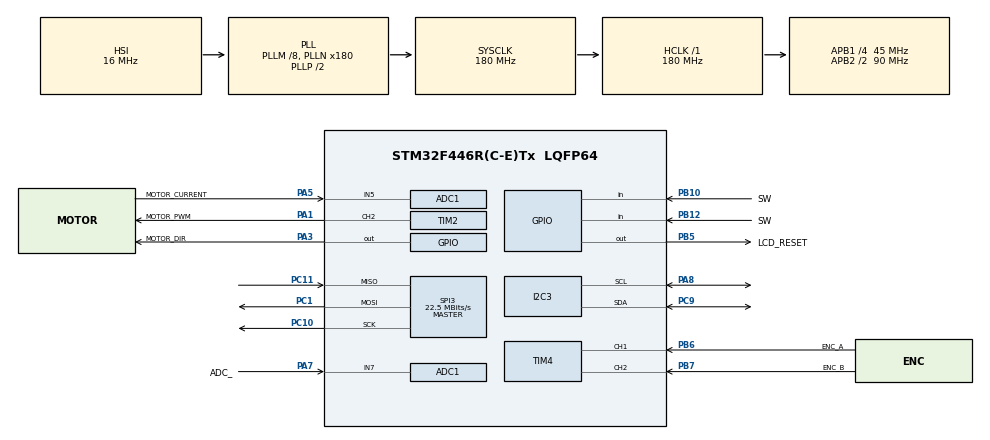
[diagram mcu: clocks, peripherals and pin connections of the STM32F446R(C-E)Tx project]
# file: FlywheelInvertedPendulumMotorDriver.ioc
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ADC1.Channel-2\#ChannelRegularConversion=ADC_CHANNEL_5
ADC1.Channel-3\#ChannelRegularConversion=ADC_CHANNEL_5
ADC1.ContinuousConvMode=ENABLE
ADC1.DMAContinuousRequests=ENABLE
ADC1.NbrOfConversion=2
ADC1.NbrOfConversionFlag=1
ADC1.Rank-2\#ChannelRegularConversion=1
ADC1.Rank-3\#ChannelRegularConversion=2
ADC1.SamplingTime-2\#ChannelRegularConversion=ADC_SAMPLETIME_480CYCLES
ADC1.SamplingTime-3\#ChannelRegularConversion=ADC_SAMPLETIME_480CYCLES
ADC1.master=1
Dma.ADC1.0.Direction=DMA_PERIPH_TO_MEMORY
Dma.ADC1.0.FIFOMode=DMA_FIFOMODE_DISABLE
Dma.ADC1.0.Instance=DMA2_Stream0
Dma.ADC1.0.MemDataAlignment=DMA_MDATAALIGN_HALFWORD
Dma.ADC1.0.MemInc=DMA_MINC_ENABLE
Dma.ADC1.0.Mode=DMA_CIRCULAR
Dma.ADC1.0.PeriphDataAlignment=DMA_PDATAALIGN_HALFWORD
Dma.ADC1.0.PeriphInc=DMA_PINC_DISABLE
Dma.ADC1.0.Priority=DMA_PRIORITY_LOW
Dma.Request0=ADC1
Mcu.Family=STM32F4
Mcu.Name=STM32F446R(C-E)Tx
Mcu.Package=LQFP64
NVIC.DMA2_Stream0_IRQn=true\:0\:0\:false\:false\:true\:false\:true
NVIC.PriorityGroup=NVIC_PRIORITYGROUP_4
NVIC.TIM6_DAC_IRQn=true\:0\:0\:false\:false\:true\:true\:true
PA1.GPIO_Label=MOTOR_PWM
PA1.Signal=S_TIM2_CH2
PA13.Mode=Trace_Asynchronous_SW
PA13.Signal=SYS_JTMS-SWDIO
PA14.Mode=Trace_Asynchronous_SW
PA14.Signal=SYS_JTCK-SWCLK
PA3.GPIO_Label=MOTOR_DIR
PA3.Signal=GPIO_Output
PA5.GPIO_Label=MOTOR_CURRENT
PA5.Signal=ADCx_IN5
PA7.GPIO_Label=ADC_
PA7.Signal=ADCx_IN7
PA8.Mode=I2C
PA8.Signal=I2C3_SCL
PB10.GPIO_Label=SW
PB10.GPIO_PuPd=GPIO_PULLUP
PB10.Signal=GPIO_Input
PB12.GPIO_Label=SW
PB12.GPIO_PuPd=GPIO_PULLUP
PB12.Signal=GPIO_Input
PB3.Mode=Trace_Asynchronous_SW
PB3.Signal=SYS_JTDO-SWO
PB5.GPIO_Label=LCD_RESET
PB5.Signal=GPIO_Output
PB6.GPIO_Label=ENC_A
PB6.Signal=S_TIM4_CH1
PB7.GPIO_Label=ENC_B
PB7.Signal=S_TIM4_CH2
PC1.Mode=Full_Duplex_Master
PC1.Signal=SPI3_MOSI
PC10.Mode=Full_Duplex_Master
PC10.Signal=SPI3_SCK
PC11.Mode=Full_Duplex_Master
PC11.Signal=SPI3_MISO
PC9.Mode=I2C
PC9.Signal=I2C3_SDA
PH0-OSC_IN.Mode=HSE-External-Oscillator
PH0-OSC_IN.Signal=RCC_OSC_IN
PH1-OSC_OUT.Mode=HSE-External-Oscillator
PH1-OSC_OUT.Signal=RCC_OSC_OUT
ProjectManager.HeapSize=0x200
ProjectManager.StackSize=0x400
ProjectManager.TargetToolchain=STM32CubeIDE
RCC.AHBFreq_Value=180000000
RCC.APB1CLKDivider=RCC_HCLK_DIV4
RCC.APB1Freq_Value=45000000
RCC.APB1TimFreq_Value=90000000
RCC.APB2CLKDivider=RCC_HCLK_DIV2
RCC.APB2Freq_Value=90000000
RCC.APB2TimFreq_Value=180000000
RCC.CortexFreq_Value=180000000
RCC.HCLKFreq_Value=180000000
RCC.HSE_VALUE=8000000
RCC.PLLM=8
RCC.PLLN=180
RCC.SYSCLKFreq_VALUE=180000000
RCC.SYSCLKSource=RCC_SYSCLKSOURCE_PLLCLK
RCC.USBFreq_Value=180000000
RCC.VCOOutputFreq_Value=360000000
SH.ADCx_IN5.0=ADC1_IN5,IN5
SH.ADCx_IN7.0=ADC1_IN7,IN7
SH.S_TIM2_CH2.0=TIM2_CH2,PWM Generation2 CH2
SH.S_TIM4_CH1.0=TIM4_CH1,Encoder_Interface
SH.S_TIM4_CH2.0=TIM4_CH2,Encoder_Interface
SPI3.CalculateBaudRate=22.5 MBits/s
SPI3.Direction=SPI_DIRECTION_2LINES
SPI3.Mode=SPI_MODE_MASTER
SPI3.VirtualType=VM_MASTER
TIM2.Channel-PWM\ Generation2\ CH2=TIM_CHANNEL_2
TIM2.Period=1799
TIM4.EncoderMode=TIM_ENCODERMODE_TI12
TIM6.AutoReloadPreload=TIM_AUTORELOAD_PRELOAD_ENABLE
TIM6.Period=999
TIM6.Prescaler=89
VP_TIM6_VS_ClockSourceINT.Mode=Enable_Timer
board=custom

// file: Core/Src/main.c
/* USER CODE BEGIN Header */
/**
  ******************************************************************************
  * @file           : main.c
  * @brief          : Main program body
  ******************************************************************************
  * @attention
  *
  * <h2><center>&copy; Copyright (c) 2021 STMicroelectronics.
  * All rights reserved.</center></h2>
  *
  * This software component is licensed by ST under BSD 3-Clause license,
  * the "License"; You may not use this file except in compliance with the
  * License. You may obtain a copy of the License at:
  *                        opensource.org/licenses/BSD-3-Clause
  *
  ******************************************************************************
  */
/* USER CODE END Header */
#include "main.h"

/* USER CODE BEGIN Includes */
#include "wrapper.hpp"

/* USER CODE END Includes */

ADC_HandleTypeDef hadc1;
DMA_HandleTypeDef hdma_adc1;

I2C_HandleTypeDef hi2c3;

SPI_HandleTypeDef hspi3;

TIM_HandleTypeDef htim2;
TIM_HandleTypeDef htim4;
TIM_HandleTypeDef htim6;

/* USER CODE BEGIN PV */
int tim6_timer;
/* USER CODE END PV */

void SystemClock_Config(void);
static void MX_GPIO_Init(void);
static void MX_DMA_Init(void);
static void MX_TIM2_Init(void);
static void MX_TIM4_Init(void);
static void MX_ADC1_Init(void);
static void MX_SPI3_Init(void);
static void MX_I2C3_Init(void);
static void MX_TIM6_Init(void);

/* USER CODE BEGIN 0 */
int _write(int file, char *ptr, int len)
{
  int DataIdx;
  for(DataIdx=0; DataIdx<len; DataIdx++)
  {
    ITM_SendChar(*ptr++);
  }
  return len;
}
void HAL_TIM_PeriodElapsedCallback(TIM_HandleTypeDef *htim)
{
	if(htim->Instance == TIM6){
		cppFlip1ms();

		tim6_timer++;
		if(tim6_timer >= 100000) tim6_timer = 0;
	}

}

void init()
{
	// timer interrpt in start
	HAL_TIM_Base_Start_IT(&htim6);
	cppInit();
}
/* USER CODE END 0 */

int main(void)
{

  /* MCU Configuration--------------------------------------------------------*/

  /* Reset of all peripherals, Initializes the Flash interface and the Systick. */
  HAL_Init();

  /* Configure the system clock */
  SystemClock_Config();

  /* Initialize all configured peripherals */
  MX_GPIO_Init();
  MX_DMA_Init();
  MX_TIM2_Init();
  MX_TIM4_Init();
  MX_ADC1_Init();
  MX_SPI3_Init();
  MX_I2C3_Init();
  MX_TIM6_Init();
  /* USER CODE BEGIN 2 */

  init();

  /* USER CODE END 2 */

  /* Infinite loop */
  while (1)
  {
	  cppLoop();
  }
}

void SystemClock_Config(void)
{
  RCC_OscInitTypeDef RCC_OscInitStruct = {0};
  RCC_ClkInitTypeDef RCC_ClkInitStruct = {0};

  /** Configure the main internal regulator output voltage
  */
  __HAL_RCC_PWR_CLK_ENABLE();
  __HAL_PWR_VOLTAGESCALING_CONFIG(PWR_REGULATOR_VOLTAGE_SCALE1);
  /** Initializes the RCC Oscillators according to the specified parameters
  * in the RCC_OscInitTypeDef structure.
  */
  RCC_OscInitStruct.OscillatorType = RCC_OSCILLATORTYPE_HSI;
  RCC_OscInitStruct.HSIState = RCC_HSI_ON;
  RCC_OscInitStruct.HSICalibrationValue = RCC_HSICALIBRATION_DEFAULT;
  RCC_OscInitStruct.PLL.PLLState = RCC_PLL_ON;
  RCC_OscInitStruct.PLL.PLLSource = RCC_PLLSOURCE_HSI;
  RCC_OscInitStruct.PLL.PLLM = 8;
  RCC_OscInitStruct.PLL.PLLN = 180;
  RCC_OscInitStruct.PLL.PLLP = RCC_PLLP_DIV2;
  RCC_OscInitStruct.PLL.PLLQ = 2;
  RCC_OscInitStruct.PLL.PLLR = 2;
  if (HAL_RCC_OscConfig(&RCC_OscInitStruct) != HAL_OK)
  {
    Error_Handler();
  }
  /** Activate the Over-Drive mode
  */
  if (HAL_PWREx_EnableOverDrive() != HAL_OK)
  {
    Error_Handler();
  }
  /** Initializes the CPU, AHB and APB buses clocks
  */
  RCC_ClkInitStruct.ClockType = RCC_CLOCKTYPE_HCLK|RCC_CLOCKTYPE_SYSCLK
                              |RCC_CLOCKTYPE_PCLK1|RCC_CLOCKTYPE_PCLK2;
  RCC_ClkInitStruct.SYSCLKSource = RCC_SYSCLKSOURCE_PLLCLK;
  RCC_ClkInitStruct.AHBCLKDivider = RCC_SYSCLK_DIV1;
  RCC_ClkInitStruct.APB1CLKDivider = RCC_HCLK_DIV4;
  RCC_ClkInitStruct.APB2CLKDivider = RCC_HCLK_DIV2;

  if (HAL_RCC_ClockConfig(&RCC_ClkInitStruct, FLASH_LATENCY_5) != HAL_OK)
  {
    Error_Handler();
  }
}

static void MX_ADC1_Init(void)
{

  ADC_ChannelConfTypeDef sConfig = {0};

  /** Configure the global features of the ADC (Clock, Resolution, Data Alignment and number of conversion)
  */
  hadc1.Instance = ADC1;
  hadc1.Init.ClockPrescaler = ADC_CLOCK_SYNC_PCLK_DIV4;
  hadc1.Init.Resolution = ADC_RESOLUTION_12B;
  hadc1.Init.ScanConvMode = ENABLE;
  hadc1.Init.ContinuousConvMode = ENABLE;
  hadc1.Init.DiscontinuousConvMode = DISABLE;
  hadc1.Init.ExternalTrigConvEdge = ADC_EXTERNALTRIGCONVEDGE_NONE;
  hadc1.Init.ExternalTrigConv = ADC_SOFTWARE_START;
  hadc1.Init.DataAlign = ADC_DATAALIGN_RIGHT;
  hadc1.Init.NbrOfConversion = 2;
  hadc1.Init.DMAContinuousRequests = ENABLE;
  hadc1.Init.EOCSelection = ADC_EOC_SINGLE_CONV;
  if (HAL_ADC_Init(&hadc1) != HAL_OK)
  {
    Error_Handler();
  }
  /** Configure for the selected ADC regular channel its corresponding rank in the sequencer and its sample time.
  */
  sConfig.Channel = ADC_CHANNEL_5;
  sConfig.Rank = 1;
  sConfig.SamplingTime = ADC_SAMPLETIME_480CYCLES;
  if (HAL_ADC_ConfigChannel(&hadc1, &sConfig) != HAL_OK)
  {
    Error_Handler();
  }
  /** Configure for the selected ADC regular channel its corresponding rank in the sequencer and its sample time.
  */
  sConfig.Rank = 2;
  if (HAL_ADC_ConfigChannel(&hadc1, &sConfig) != HAL_OK)
  {
    Error_Handler();
  }

}

static void MX_I2C3_Init(void)
{

  hi2c3.Instance = I2C3;
  hi2c3.Init.ClockSpeed = 100000;
  hi2c3.Init.DutyCycle = I2C_DUTYCYCLE_2;
  hi2c3.Init.OwnAddress1 = 0;
  hi2c3.Init.AddressingMode = I2C_ADDRESSINGMODE_7BIT;
  hi2c3.Init.DualAddressMode = I2C_DUALADDRESS_DISABLE;
  hi2c3.Init.OwnAddress2 = 0;
  hi2c3.Init.GeneralCallMode = I2C_GENERALCALL_DISABLE;
  hi2c3.Init.NoStretchMode = I2C_NOSTRETCH_DISABLE;
  if (HAL_I2C_Init(&hi2c3) != HAL_OK)
  {
    Error_Handler();
  }

}

static void MX_SPI3_Init(void)
{

  /* SPI3 parameter configuration*/
  hspi3.Instance = SPI3;
  hspi3.Init.Mode = SPI_MODE_MASTER;
  hspi3.Init.Direction = SPI_DIRECTION_2LINES;
  hspi3.Init.DataSize = SPI_DATASIZE_8BIT;
  hspi3.Init.CLKPolarity = SPI_POLARITY_LOW;
  hspi3.Init.CLKPhase = SPI_PHASE_1EDGE;
  hspi3.Init.NSS = SPI_NSS_SOFT;
  hspi3.Init.BaudRatePrescaler = SPI_BAUDRATEPRESCALER_2;
  hspi3.Init.FirstBit = SPI_FIRSTBIT_MSB;
  hspi3.Init.TIMode = SPI_TIMODE_DISABLE;
  hspi3.Init.CRCCalculation = SPI_CRCCALCULATION_DISABLE;
  hspi3.Init.CRCPolynomial = 10;
  if (HAL_SPI_Init(&hspi3) != HAL_OK)
  {
    Error_Handler();
  }

}

static void MX_TIM2_Init(void)
{

  TIM_MasterConfigTypeDef sMasterConfig = {0};
  TIM_OC_InitTypeDef sConfigOC = {0};

  htim2.Instance = TIM2;
  htim2.Init.Prescaler = 0;
  htim2.Init.CounterMode = TIM_COUNTERMODE_UP;
  htim2.Init.Period = 1799;
  htim2.Init.ClockDivision = TIM_CLOCKDIVISION_DIV1;
  htim2.Init.AutoReloadPreload = TIM_AUTORELOAD_PRELOAD_DISABLE;
  if (HAL_TIM_PWM_Init(&htim2) != HAL_OK)
  {
    Error_Handler();
  }
  sMasterConfig.MasterOutputTrigger = TIM_TRGO_RESET;
  sMasterConfig.MasterSlaveMode = TIM_MASTERSLAVEMODE_DISABLE;
  if (HAL_TIMEx_MasterConfigSynchronization(&htim2, &sMasterConfig) != HAL_OK)
  {
    Error_Handler();
  }
  sConfigOC.OCMode = TIM_OCMODE_PWM1;
  sConfigOC.Pulse = 0;
  sConfigOC.OCPolarity = TIM_OCPOLARITY_HIGH;
  sConfigOC.OCFastMode = TIM_OCFAST_DISABLE;
  if (HAL_TIM_PWM_ConfigChannel(&htim2, &sConfigOC, TIM_CHANNEL_2) != HAL_OK)
  {
    Error_Handler();
  }
  HAL_TIM_MspPostInit(&htim2);

}

static void MX_TIM4_Init(void)
{

  TIM_Encoder_InitTypeDef sConfig = {0};
  TIM_MasterConfigTypeDef sMasterConfig = {0};

  htim4.Instance = TIM4;
  htim4.Init.Prescaler = 0;
  htim4.Init.CounterMode = TIM_COUNTERMODE_UP;
  htim4.Init.Period = 65535;
  htim4.Init.ClockDivision = TIM_CLOCKDIVISION_DIV1;
  htim4.Init.AutoReloadPreload = TIM_AUTORELOAD_PRELOAD_DISABLE;
  sConfig.EncoderMode = TIM_ENCODERMODE_TI12;
  sConfig.IC1Polarity = TIM_ICPOLARITY_RISING;
  sConfig.IC1Selection = TIM_ICSELECTION_DIRECTTI;
  sConfig.IC1Prescaler = TIM_ICPSC_DIV1;
  sConfig.IC1Filter = 0;
  sConfig.IC2Polarity = TIM_ICPOLARITY_RISING;
  sConfig.IC2Selection = TIM_ICSELECTION_DIRECTTI;
  sConfig.IC2Prescaler = TIM_ICPSC_DIV1;
  sConfig.IC2Filter = 0;
  if (HAL_TIM_Encoder_Init(&htim4, &sConfig) != HAL_OK)
  {
    Error_Handler();
  }
  sMasterConfig.MasterOutputTrigger = TIM_TRGO_RESET;
  sMasterConfig.MasterSlaveMode = TIM_MASTERSLAVEMODE_DISABLE;
  if (HAL_TIMEx_MasterConfigSynchronization(&htim4, &sMasterConfig) != HAL_OK)
  {
    Error_Handler();
  }

}

static void MX_TIM6_Init(void)
{

  TIM_MasterConfigTypeDef sMasterConfig = {0};

  htim6.Instance = TIM6;
  htim6.Init.Prescaler = 89;
  htim6.Init.CounterMode = TIM_COUNTERMODE_UP;
  htim6.Init.Period = 999;
  htim6.Init.AutoReloadPreload = TIM_AUTORELOAD_PRELOAD_ENABLE;
  if (HAL_TIM_Base_Init(&htim6) != HAL_OK)
  {
    Error_Handler();
  }
  sMasterConfig.MasterOutputTrigger = TIM_TRGO_RESET;
  sMasterConfig.MasterSlaveMode = TIM_MASTERSLAVEMODE_DISABLE;
  if (HAL_TIMEx_MasterConfigSynchronization(&htim6, &sMasterConfig) != HAL_OK)
  {
    Error_Handler();
  }

}

static void MX_DMA_Init(void)
{

  /* DMA controller clock enable */
  __HAL_RCC_DMA2_CLK_ENABLE();

  /* DMA interrupt init */
  /* DMA2_Stream0_IRQn interrupt configuration */
  HAL_NVIC_SetPriority(DMA2_Stream0_IRQn, 0, 0);
  HAL_NVIC_EnableIRQ(DMA2_Stream0_IRQn);

}

static void MX_GPIO_Init(void)
{
  GPIO_InitTypeDef GPIO_InitStruct = {0};

  /* GPIO Ports Clock Enable */
  __HAL_RCC_GPIOH_CLK_ENABLE();
  __HAL_RCC_GPIOC_CLK_ENABLE();
  __HAL_RCC_GPIOA_CLK_ENABLE();
  __HAL_RCC_GPIOB_CLK_ENABLE();

  /*Configure GPIO pin Output Level */
  HAL_GPIO_WritePin(MOTOR_DIR_GPIO_Port, MOTOR_DIR_Pin, GPIO_PIN_RESET);

  /*Configure GPIO pin Output Level */
  HAL_GPIO_WritePin(LCD_RESET_GPIO_Port, LCD_RESET_Pin, GPIO_PIN_RESET);

  /*Configure GPIO pin : MOTOR_DIR_Pin */
  GPIO_InitStruct.Pin = MOTOR_DIR_Pin;
  GPIO_InitStruct.Mode = GPIO_MODE_OUTPUT_PP;
  GPIO_InitStruct.Pull = GPIO_NOPULL;
  GPIO_InitStruct.Speed = GPIO_SPEED_FREQ_LOW;
  HAL_GPIO_Init(MOTOR_DIR_GPIO_Port, &GPIO_InitStruct);

  /*Configure GPIO pins : SW_Pin SWB12_Pin */
  GPIO_InitStruct.Pin = SW_Pin|SWB12_Pin;
  GPIO_InitStruct.Mode = GPIO_MODE_INPUT;
  GPIO_InitStruct.Pull = GPIO_PULLUP;
  HAL_GPIO_Init(GPIOB, &GPIO_InitStruct);

  /*Configure GPIO pin : LCD_RESET_Pin */
  GPIO_InitStruct.Pin = LCD_RESET_Pin;
  GPIO_InitStruct.Mode = GPIO_MODE_OUTPUT_PP;
  GPIO_InitStruct.Pull = GPIO_NOPULL;
  GPIO_InitStruct.Speed = GPIO_SPEED_FREQ_LOW;
  HAL_GPIO_Init(LCD_RESET_GPIO_Port, &GPIO_InitStruct);

}

void Error_Handler(void)
{
  __disable_irq();
  while (1)
  {
  }
}

/************************ (C) COPYRIGHT STMicroelectronics *****END OF FILE****/
